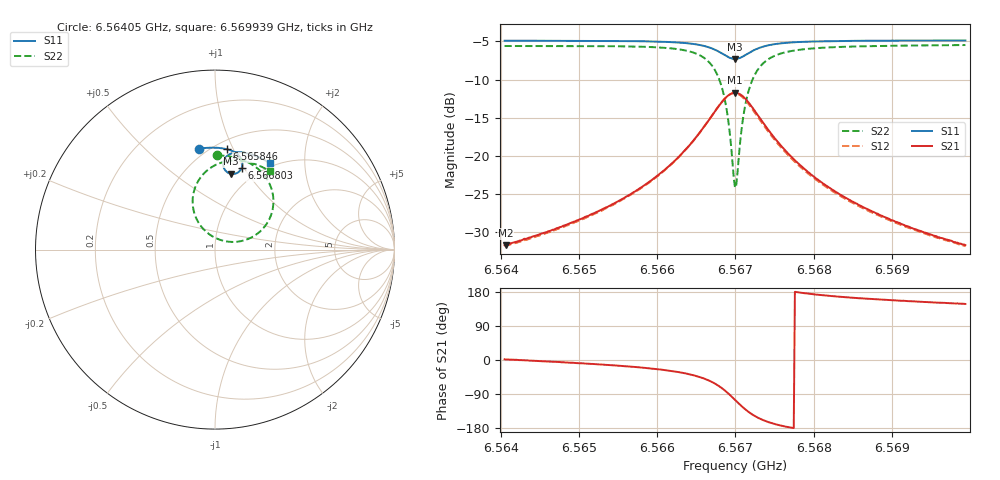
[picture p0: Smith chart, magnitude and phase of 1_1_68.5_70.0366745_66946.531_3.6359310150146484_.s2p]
#  HZ  S  RI  R  50.00
! Rohde & Schwarz Vector Network Analyzer
! Rohde-Schwarz,ZNB20-2Port,1311601062101988,3.16
! Created: UTC 3/20/2024, 5:03:45 PM
! freq[Hz]  re:S11  im:S11  re:S21  im:S21  re:S12  im:S12  re:S22  im:S22
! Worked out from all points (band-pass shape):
!   401 points, 6.56405 GHz to 6.569939 GHz, reference 50 ohm
!   highest |S21| = -11.74 dB at 6.566994 GHz (marker M1); lowest = -31.8 dB at 6.564065 GHz (marker M2)
!   |S21| within 3 dB of the highest: 6.566701 GHz to 6.567289 GHz (587.5 kHz wide, 0.00895 % of centre)
!   lowest |S11| = -7.3 dB at 6.566994 GHz (marker M3), VSWR 2.52, Z = 40.3 + j41.8 ohm
!   |S11| at or under -10 dB: nowhere
!   |S22| runs from -24.2 to -5.5 dB; largest |S21 - S12| = 0.012
!   S11 on the Smith chart (normalised r, x): 6.56405 GHz: 0.45, +0.75; 6.565846 GHz: 0.58, +0.94; 6.566803 GHz: 0.83, +0.97; 6.569939 GHz: 0.94, +1.35
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6.5640501e9  -0.0864 0.5624  0.0258 0.000837  0.0254 0.000315  0.0124 0.5247
6.5640648e9  -0.0851 0.5626  0.0257 0.000616  0.0255 0.000174  0.0136 0.5247
6.5650364e9  -0.00685 0.5678  0.0381 -0.00577  0.0374 -0.00646  0.1021 0.5149
6.5658461e9  0.0657 0.5595  0.0602 -0.023  0.0591 -0.0237  0.1978 0.4793
6.5660228e9  0.0834 0.5544  0.0684 -0.0314  0.0672 -0.0323  0.2244 0.462
6.5663319e9  0.1173 0.5379  0.087 -0.0592  0.0857 -0.0602  0.2799 0.4072
6.5665675e9  0.1436 0.5102  0.1008 -0.1069  0.0988 -0.1088  0.321 0.315
6.5667e9  0.1526 0.4825  0.0969 -0.1551  0.0932 -0.1579  0.3208 0.2227
6.566803e9  0.148 0.4535  0.0716 -0.2048  0.0654 -0.2074  0.2775 0.1294
6.5668913e9  0.1282 0.4301  0.0208 -0.2435  0.0117 -0.244  0.1859 0.0598
6.5669649e9  0.1004 0.4213  -0.0414 -0.2542  -0.0517 -0.2509  0.0747 0.044
6.5669944e9  0.0882 0.4223  -0.0676 -0.2499  -0.0777 -0.2448  0.0289 0.0543
6.5670238e9  0.0764 0.4261  -0.0927 -0.2405  -0.102 -0.2335  -0.0138 0.0736
6.5670827e9  0.0579 0.4407  -0.1335 -0.2092  -0.1399 -0.2  -0.0801 0.133
6.5671269e9  0.0493 0.4553  -0.1532 -0.1799  -0.1572 -0.1701  -0.1097 0.1866
6.5671858e9  0.0457 0.4751  -0.1657 -0.1407  -0.167 -0.1313  -0.1244 0.2562
6.5672741e9  0.0514 0.5002  -0.1642 -0.0916  -0.1629 -0.0839  -0.1124 0.3413
6.5675391e9  0.0911 0.5356  -0.1219 -0.0193  -0.1192 -0.016  -0.0164 0.4606
6.5679807e9  0.1475 0.542  -0.0738 0.00786  -0.072 0.00914  0.0978 0.4963
6.5684224e9  0.1905 0.534  -0.0507 0.0132  -0.0495 0.0137  0.1668 0.4918
6.568967e9  0.2356 0.5184  -0.0356 0.0142  -0.0349 0.0145  0.2271 0.4753
6.5699387e9  0.3053 0.4824  -0.0219 0.0137  -0.0214 0.0137  0.3071 0.4352
